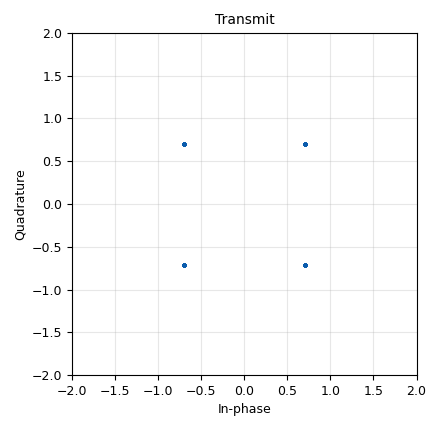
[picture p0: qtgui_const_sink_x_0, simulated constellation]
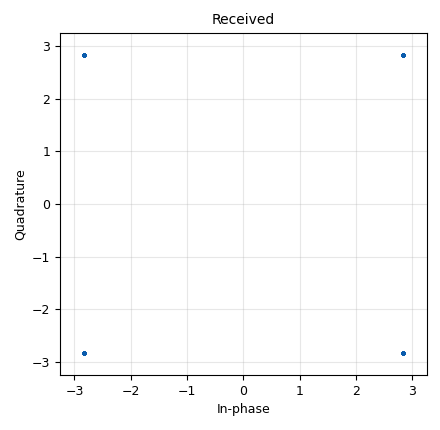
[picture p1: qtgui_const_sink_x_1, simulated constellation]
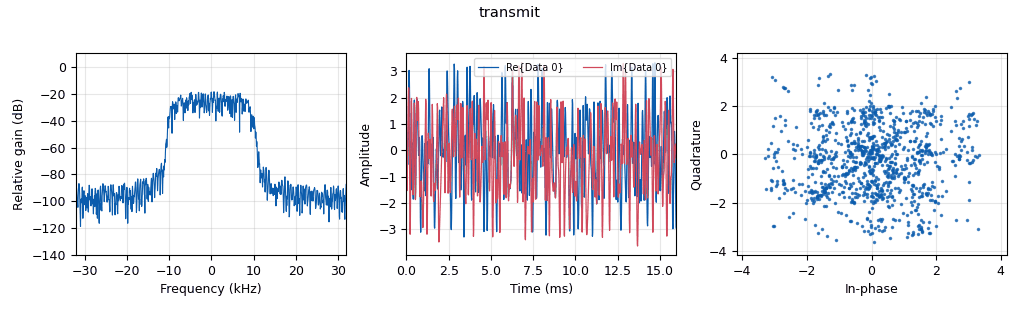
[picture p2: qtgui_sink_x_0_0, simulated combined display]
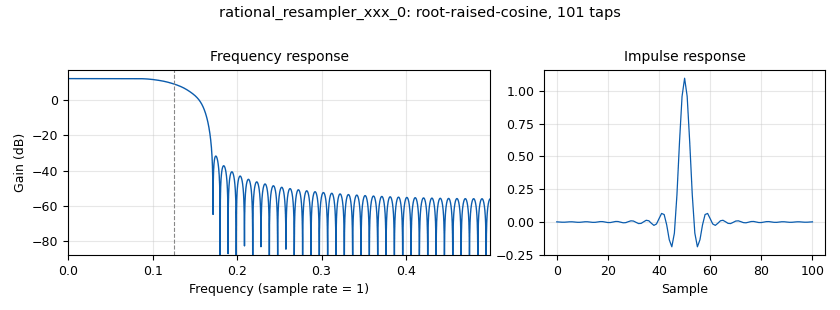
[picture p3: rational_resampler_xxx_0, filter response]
options:
  parameters:
    author: Priyanka
    generate_options: qt_gui
    id: ofdm_final
    output_language: python
    title: ofdm_final
  states: {}

blocks:
- name: delay_val
  id: variable_qtgui_range
  parameters:
    orient: Qt.Horizontal
    start: '0'
    step: '1'
    stop: '10'
    value: '0'
  states: {}
- name: noise
  id: variable_qtgui_range
  parameters:
    orient: Qt.Horizontal
    start: '0'
    step: '0.1'
    stop: '1'
    value: '0'
  states: {}
- name: samp_rate
  id: variable
  parameters:
    value: 32000*2
  states: {}
- name: analog_noise_source_x_0
  id: analog_noise_source_x
  parameters:
    amp: noise
    noise_type: analog.GR_GAUSSIAN
    seed: '0'
    type: complex
  states: {}
- name: analog_random_source_x_0
  id: analog_random_source_x
  parameters:
    max: '4'
    min: '0'
    num_samps: '1000'
    repeat: 'True'
    type: int
  states: {}
- name: blocks_add_xx_0
  id: blocks_add_xx
  parameters:
    type: complex
  states: {}
- name: blocks_deinterleave_0_0
  id: blocks_deinterleave
  parameters:
    num_streams: '6'
    type: complex
  states: {}
- name: blocks_deinterleave_0_0_0
  id: blocks_deinterleave
  parameters:
    num_streams: '4'
    type: complex
  states: {}
- name: blocks_interleave_0
  id: blocks_interleave
  parameters:
    num_streams: '6'
    type: complex
  states: {}
- name: blocks_interleave_0_0
  id: blocks_interleave
  parameters:
    num_streams: '4'
    type: complex
  states: {}
- name: blocks_null_sink_0
  id: blocks_null_sink
  parameters:
    num_inputs: '2'
    type: complex
  states: {}
- name: blocks_stream_to_vector_0
  id: blocks_stream_to_vector
  parameters:
    num_items: '4'
    type: complex
  states: {}
- name: blocks_stream_to_vector_0_0
  id: blocks_stream_to_vector
  parameters:
    num_items: '4'
    type: complex
  states: {}
- name: blocks_throttle_0
  id: blocks_throttle
  parameters:
    samples_per_second: samp_rate
    type: complex
  states: {}
- name: blocks_vector_to_stream_0
  id: blocks_vector_to_stream
  parameters:
    num_items: '4'
    type: complex
  states: {}
- name: blocks_vector_to_stream_2
  id: blocks_vector_to_stream
  parameters:
    num_items: '4'
    type: complex
  states: {}
- name: digital_chunks_to_symbols_xx_0
  id: digital_chunks_to_symbols_xx
  parameters:
    dimension: '1'
    in_type: int
    out_type: complex
    symbol_table: ((0.707+0.707j,-0.707+0.707j,-0.707-0.707j,0.707-0.707j))
  states: {}
- name: fft_vxx_0_0
  id: fft_vxx
  parameters:
    fft_size: '4'
    forward: 'True'
    shift: 'True'
    type: complex
    window: window.rectangular(4)
  states: {}
- name: fft_vxx_0_0_0
  id: fft_vxx
  parameters:
    fft_size: '4'
    forward: 'False'
    shift: 'True'
    type: complex
    window: window.rectangular(4)
  states: {}
- name: interp_fir_filter_xxx_0
  id: interp_fir_filter_xxx
  parameters:
    interp: '1'
    taps: ((1,0,0))
    type: ccc
  states: {}
- name: qtgui_const_sink_x_0
  id: qtgui_const_sink_x
  parameters:
    name: '"Transmit"'
    size: '1024'
    type: complex
  states: {}
- name: qtgui_const_sink_x_1
  id: qtgui_const_sink_x
  parameters:
    autoscale: 'True'
    name: '"Received"'
    size: '1024'
    type: complex
  states: {}
- name: qtgui_sink_x_0_0
  id: qtgui_sink_x
  parameters:
    bw: samp_rate
    fc: '0'
    fftsize: '1024'
    name: '"transmit"'
    type: complex
    wintype: firdes.WIN_BLACKMAN_hARRIS
  states: {}
- name: rational_resampler_xxx_0
  id: rational_resampler_xxx
  parameters:
    decim: '1'
    interp: '4'
    taps: firdes.root_raised_cosine(4,1,0.25,0.35,100)
    type: ccc
  states: {}

connections:
- [analog_noise_source_x_0, '0', blocks_add_xx_0, '1']
- [analog_random_source_x_0, '0', digital_chunks_to_symbols_xx_0, '0']
- [blocks_add_xx_0, '0', blocks_deinterleave_0_0, '0']
- [blocks_deinterleave_0_0, '0', blocks_null_sink_0, '0']
- [blocks_deinterleave_0_0, '1', blocks_null_sink_0, '1']
- [blocks_deinterleave_0_0, '2', blocks_interleave_0_0, '0']
- [blocks_deinterleave_0_0, '3', blocks_interleave_0_0, '1']
- [blocks_deinterleave_0_0, '4', blocks_interleave_0_0, '2']
- [blocks_deinterleave_0_0, '5', blocks_interleave_0_0, '3']
- [blocks_deinterleave_0_0_0, '0', blocks_interleave_0, '2']
- [blocks_deinterleave_0_0_0, '1', blocks_interleave_0, '3']
- [blocks_deinterleave_0_0_0, '2', blocks_interleave_0, '0']
- [blocks_deinterleave_0_0_0, '2', blocks_interleave_0, '4']
- [blocks_deinterleave_0_0_0, '3', blocks_interleave_0, '1']
- [blocks_deinterleave_0_0_0, '3', blocks_interleave_0, '5']
- [blocks_interleave_0, '0', interp_fir_filter_xxx_0, '0']
- [blocks_interleave_0_0, '0', blocks_stream_to_vector_0_0, '0']
- [blocks_stream_to_vector_0, '0', fft_vxx_0_0_0, '0']
- [blocks_stream_to_vector_0_0, '0', fft_vxx_0_0, '0']
- [blocks_throttle_0, '0', blocks_stream_to_vector_0, '0']
- [blocks_vector_to_stream_0, '0', qtgui_const_sink_x_1, '0']
- [blocks_vector_to_stream_2, '0', blocks_deinterleave_0_0_0, '0']
- [blocks_vector_to_stream_2, '0', rational_resampler_xxx_0, '0']
- [digital_chunks_to_symbols_xx_0, '0', blocks_throttle_0, '0']
- [digital_chunks_to_symbols_xx_0, '0', qtgui_const_sink_x_0, '0']
- [fft_vxx_0_0, '0', blocks_vector_to_stream_0, '0']
- [fft_vxx_0_0_0, '0', blocks_vector_to_stream_2, '0']
- [interp_fir_filter_xxx_0, '0', blocks_add_xx_0, '0']
- [rational_resampler_xxx_0, '0', qtgui_sink_x_0_0, '0']

metadata:
  file_format: 1
